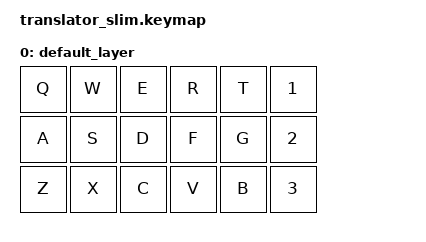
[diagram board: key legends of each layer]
#include <behaviors.dtsi>
#include <dt-bindings/zmk/keys.h>

/ {
    keymap {
        compatible = "zmk,keymap";

        default_layer {
            //  c1    c2    c3    c4    c5    c6(thumb)
            bindings = <
                &kp Q &kp W &kp E &kp R &kp T &kp N1
                &kp A &kp S &kp D &kp F &kp G &kp N2
                &kp Z &kp X &kp C &kp V &kp B &kp N3
            >;
        };
    };
};
